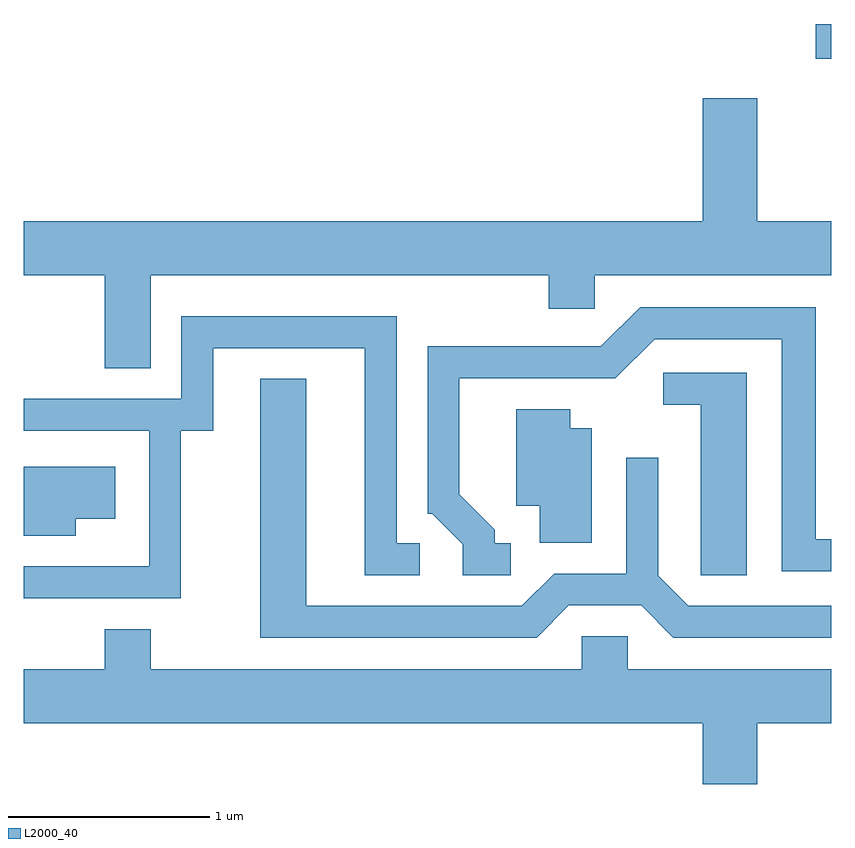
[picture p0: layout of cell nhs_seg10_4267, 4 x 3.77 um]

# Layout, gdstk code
import gdstk
lib = gdstk.Library(unit=1e-6, precision=1e-09)
def R(c, l, rs):  # rectangles x0, y0, x1, y1
    for r in rs: c.add(gdstk.rectangle(r[:2], r[2:], *l))
def P(c, l, *ps):  # polygons
    for p in ps: c.add(gdstk.Polygon(p, *l))
L2000_40 = (2000, 40)

nhs_seg10_4267 = lib.new_cell('nhs_seg10_4267')
R(nhs_seg10_4267, L2000_40, [(315.536,2088.351,315.611,2088.522)])
P(nhs_seg10_4267, L2000_40, [(312.239,2087.276),(314.211,2087.276),(314.211,2087.111),(314.439,2087.111),(314.439,2087.276),(315.611,2087.276),(315.611,2087.544),(315.244,2087.544),(315.244,2088.154),(314.976,2088.154),(314.976,2087.544),(311.611,2087.544),(311.611,2087.276),(312.011,2087.276),(312.011,2086.816),(312.239,2086.816)],
  [(314.023,2085.949),(313.944,2085.949),(313.944,2086.017),(313.769,2086.192),(313.769,2086.766),(314.542,2086.766),(314.737,2086.961),(315.366,2086.961),(315.366,2085.811),(315.611,2085.811),(315.611,2085.969),(315.534,2085.969),(315.534,2087.119),(314.664,2087.119),(314.469,2086.924),(313.611,2086.924),(313.611,2086.096),(313.634,2086.096),(313.786,2085.943),(313.786,2085.791),(314.023,2085.791)],
  [(312.389,2086.506),(312.549,2086.506),(312.549,2086.916),(313.301,2086.916),(313.301,2085.791),(313.573,2085.791),(313.573,2085.949),(313.459,2085.949),(313.459,2087.074),(312.391,2087.074),(312.391,2086.664),(311.611,2086.664),(311.611,2086.506),(312.231,2086.506),(312.231,2085.834),(311.611,2085.834),(311.611,2085.676),(312.389,2085.676)],
  [(315.194,2086.794),(314.778,2086.794),(314.778,2086.636),(314.966,2086.636),(314.966,2085.791),(315.194,2085.791)],
  [(314.312,2085.641),(314.669,2085.641),(314.829,2085.481),(315.611,2085.481),(315.611,2085.639),(314.902,2085.639),(314.754,2085.787),(314.754,2086.373),(314.596,2086.373),(314.596,2085.799),(314.239,2085.799),(314.079,2085.639),(313.009,2085.639),(313.009,2086.764),(312.781,2086.764),(312.781,2085.481),(314.152,2085.481)],
  [(314.424,2086.519),(314.319,2086.519),(314.319,2086.614),(314.051,2086.614),(314.051,2086.136),(314.166,2086.136),(314.166,2085.951),(314.424,2085.951)],
  [(311.869,2086.071),(312.064,2086.071),(312.064,2086.329),(311.611,2086.329),(311.611,2085.986),(311.869,2085.986)],
  [(315.244,2085.056),(315.611,2085.056),(315.611,2085.324),(314.604,2085.324),(314.604,2085.489),(314.376,2085.489),(314.376,2085.324),(312.239,2085.324),(312.239,2085.524),(312.011,2085.524),(312.011,2085.324),(311.611,2085.324),(311.611,2085.056),(314.976,2085.056),(314.976,2084.756),(315.244,2084.756)])

lib.write_gds('nhs_seg10_4267.gds')
